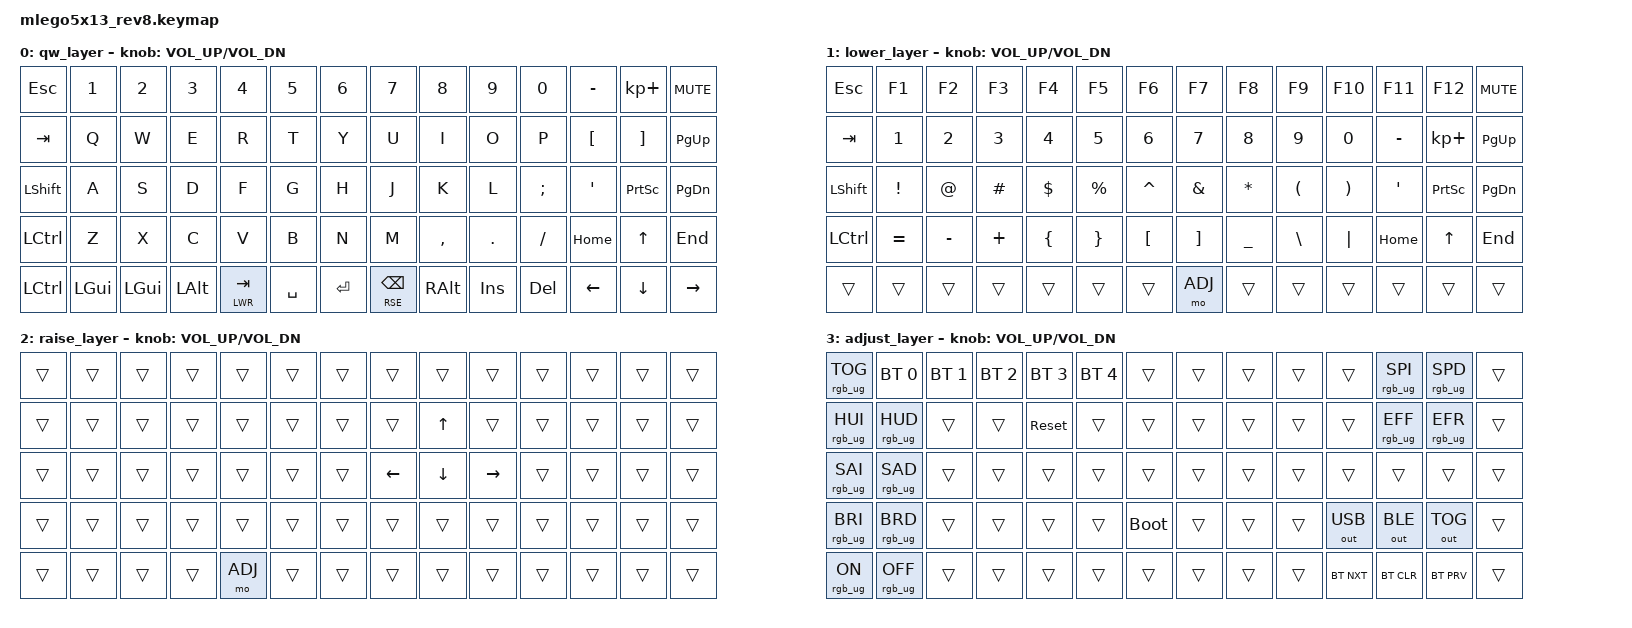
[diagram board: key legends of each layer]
/*
 * Copyright (c) 2022 The ZMK Contributors
 *
 * SPDX-License-Identifier: MIT
 */
 
#include <behaviors.dtsi>
#include <dt-bindings/zmk/keys.h>
#include <dt-bindings/zmk/outputs.h>
#include <dt-bindings/zmk/rgb.h>
#include <dt-bindings/zmk/bt.h>

#define  QW 0
#define LWR 1
#define RSE 2
#define ADJ 3

 &lt {
        quick_tap_ms = <150>;
    };
/ {
   
    conditional_layers {
        compatible = "zmk,conditional-layers";
        tri_layer {
            if-layers = <LWR RSE>;
            then-layer = <ADJ>;
        };
    };

   

    keymap {
        compatible = "zmk,keymap";

/*
 * ┌───┬───┬───┬───┬───┬───┬───┬───┬───┬───┬───┬───┬───┐
 * │ ⎋ │ 1 │ 2 │ 3 │ 4 │ 5 │ 6 │ 7 │ 8 │ 9 │ 0 │ - │ ⌫ │
 * ├───┼───┼───┼───┼───┼───┼───┼───┼───┼───┼───┼───┼───┤
 * │ ↹ │ q │ w │ e │ r │ t │ y │ u │ i │ o │ p │ [ │ ] │
 * ├───┼───┼───┼───┼───┼───┼───┼───┼───┼───┼───┼───┼───┤
 * │ # │ a │ s │ d │ f │ g │ h │ j │ k │ l │ ; │ ' │ ⏎ │
 * ├───┼───┼───┼───┼───┼───┼───┼───┼───┼───┼───┼───┼───┤
 * │ ⇧(│ \ │ z │ x │ c │ v │ b │ n │ m │ , │ , │ ↑ │ / │
 * ├───┼───┼───┼───┼───┼───┼───┼───┼───┼───┼───┼───┼───┤
 * │ ⎈ │mnu│lwr│⎇  │rse│   │   │   │⎇  │ ⇧)│ ← │ ↓ │ → │
 * └───┴───┴───┴───┴───┴───┴───┴───┴───┴───┴───┴───┴───┘
 */
        qw_layer {
            bindings = <
                &kp ESC          &kp N1          &kp N2    &kp N3   &kp N4         &kp N5    &kp N6    &kp N7    &kp N8     &kp N9    &kp N0   &kp MINUS &kp KP_PLUS &kp C_MUTE
                &kp TAB          &kp Q           &kp W     &kp E    &kp R          &kp T     &kp Y     &kp U     &kp I      &kp O     &kp P    &kp LBKT  &kp RBKT    &kp PG_UP
                &kp LSHIFT       &kp A           &kp S     &kp D    &kp F          &kp G     &kp H     &kp J     &kp K      &kp L     &kp SEMI &kp APOS  &kp PSCRN   &kp PG_DN
                &kp LCTRL        &kp Z           &kp X     &kp C    &kp V          &kp B     &kp N     &kp M     &kp COMMA  &kp DOT   &kp FSLH &kp HOME  &kp UP      &kp END 
                &kp LCTRL        &kp LGUI        &kp LGUI  &kp LALT &lt LWR TAB    &kp SPACE &kp RET   &lt RSE BSPC  &kp RALT   &kp INS   &kp DEL  &kp LEFT  &kp DOWN    &kp RIGHT 
            >;
      sensor-bindings = <&inc_dec_kp C_VOL_UP C_VOL_DN>;
        };
/*
lower layer
 * ┌───┬───┬───┬───┬───┬───┬───┬───┬───┬───┬───┬───┬───┐
 * │ ` │MUT│Vup│Vdn│prv│ply│nxt│EXT│SLP│WAK│PSC│ ⌫ │ = │
 * ├───┼───┼───┼───┼───┼───┼───┼───┼───┼───┼───┼───┼───┤
 * │   │ σ │ ω │ ε │ ρ │ ϑ │ ℝ │ τ │ ∫ │ ∞ │ π │ [ │ ] │
 * ├───┼───┼───┼───┼───┼───┼───┼───┼───┼───┼───┼───┼───┤
 * │   │ α │ ∑ │ δ │ φ │ γ │ ℏ │ ∈ │ ϰ │ λ │ 𝔼 │ ∝ │ ⏎ │
 * ├───┼───┼───┼───┼───┼───┼───┼───┼───┼───┼───┼───┼───┤
 * │ ⇧(│   │ ζ │ ξ │ χ │ ν │ β │ η │ μ │ ≊ │ ± │   │ × │
 * ├───┼───┼───┼───┼───┼───┼───┼───┼───┼───┼───┼───┼───┤
 * │ ⎈ │   │lwr│⎇  │rse│   │   │   │⎇  │ ⇧)│   │   │   │
 * └───┴───┴───┴───┴───┴───┴───┴───┴───┴───┴───┴───┴───┘
lower layer shifted
 * ┌───┬───┬───┬───┬───┬───┬───┬───┬───┬───┬───┬───┬───┐
 * │ ¬ │   │   │   │   │   │   │   │   │   │   │ ⌫ │ = │
 * ├───┼───┼───┼───┼───┼───┼───┼───┼───┼───┼───┼───┼───┤
 * │MB3│ ϕ │ Ω │ ℇ │ ∇ │ θ │ ℤ │ ℂ │ ∮ │ ⊗ │ ∏ │ { │ } │
 * ├───┼───┼───┼───┼───┼───┼───┼───┼───┼───┼───┼───┼───┤
 * │MB2│ Α │ ⨋ │ ∂ │ ψ │ Γ │ 𝓗 │ ∉ │ ∆ │ Λ │ Å │ ℒ │ ⏎ │
 * ├───┼───┼───┼───┼───┼───┼───┼───┼───┼───┼───┼───┼───┤
 * │ ⇧(│MB1│ ∡ │ Ξ │ ̇  │ Ν │ Β │ ∪ │ ∘ │ ≈ │ ∓ │MSU│ ⋅ │
 * ├───┼───┼───┼───┼───┼───┼───┼───┼───┼───┼───┼───┼───┤
 * │ ⎈ │MB4│lwr│⎇  │rse│   │   │   │⎇  │ ⇧)│MSL│MSD│MSR│
 * └───┴───┴───┴───┴───┴───┴───┴───┴───┴───┴───┴───┴───┘
MB - mouse buttons
MS - mouse directions
*/
        lower_layer {
            bindings = <
                &kp ESC          &kp F1          &kp F2    &kp F3   &kp F4         &kp F5    &kp F6    &kp F7    &kp F8     &kp F9    &kp F10  &kp F11   &kp F12     &kp C_MUTE
                &kp TAB          &kp N1          &kp N2    &kp N3   &kp N4         &kp N5    &kp N6    &kp N7    &kp N8     &kp N9    &kp N0   &kp MINUS &kp KP_PLUS    &kp PG_UP
                &kp LSHIFT       &kp EXCL        &kp AT    &kp HASH &kp DLLR       &kp PRCNT &kp CARET &kp AMPS  &kp STAR   &kp LPAR  &kp RPAR &kp APOS  &kp PSCRN   &kp PG_DN
                &kp LCTRL        &kp EQUAL       &kp MINUS &kp PLUS &kp LBRC       &kp RBRC  &kp LBKT  &kp RBKT  &kp UNDER  &kp BSLH  &kp PIPE &kp HOME  &kp UP      &kp END 
                &trans           &trans          &trans    &trans   &trans         &trans    &trans    &mo ADJ    &trans     &trans    &trans   &trans    &trans      &trans
            >;
      sensor-bindings = <&inc_dec_kp C_VOL_UP C_VOL_DN>;
        };
/*
 * raise layer
 * ┌───┬───┬───┬───┬───┬───┬───┬───┬───┬───┬───┬───┬───┐
 * │ ⎋ │ F1│ F2│ F3│ F4│ F5│ F6│ F7│ F8│ F9│F10│F11│F12│
 * ├───┼───┼───┼───┼───┼───┼───┼───┼───┼───┼───┼───┼───┤
 * │   │ â │   │   │   │ ț │   │   │ î │   │   │   │   │
 * ├───┼───┼───┼───┼───┼───┼───┼───┼───┼───┼───┼───┼───┤
 * │ ⇪ │ ă │ ș │   │   │   │   │   │   │   │   │   │   │
 * ├───┼───┼───┼───┼───┼───┼───┼───┼───┼───┼───┼───┼───┤
 * │   │   │   │   │ ç │   │   │   │   │   │   │MWU│   │
 * ├───┼───┼───┼───┼───┼───┼───┼───┼───┼───┼───┼───┼───┤
 * │   │   │   │   │   │   │   │   │   │   │MWL│MWD│MWR│
 * └───┴───┴───┴───┴───┴───┴───┴───┴───┴───┴───┴───┴───┘
 * MW mouse keys
*/
        raise_layer {
            bindings = <
                &trans   &trans  &trans  &trans  &trans  &trans  &trans  &trans    &trans      &trans  &trans  &trans  &trans &trans
                &trans   &trans  &trans  &trans  &trans  &trans  &trans  &trans    &kp UP      &trans  &trans  &trans  &trans &trans
                &trans   &trans  &trans  &trans  &trans  &trans  &trans  &kp LEFT  &kp DOWN    &kp RIGHT  &trans  &trans  &trans &trans
                &trans   &trans  &trans  &trans  &trans  &trans  &trans  &trans    &trans      &trans  &trans  &trans  &trans &trans
                &trans   &trans  &trans  &trans  &mo ADJ  &trans  &trans  &trans    &trans      &trans  &trans  &trans  &trans &trans
            >; 
      sensor-bindings = <&inc_dec_kp C_VOL_UP C_VOL_DN>;
        };

/*
adj layer
 * ┌───┬────┬───┬───┬───┬───┬────┬───┬───┬───┬───┬────┬────┐
 * │TOG│bt0 │bt1│bt2│bt3│bt4│    │   │   │   │   │ SPI│ SPD│
 * ├───┼────┼───┼───┼───┼───┼────┼───┼───┼───┼───┼────┼────┤
 * │HUI│HUD │   │   │rst│   │    │   │   │   │   │ EFF│ EFR│
 * ├───┼────┼───┼───┼───┼───┼────┼───┼───┼───┼───┼────┼────┤
 * │SAI│SAD │   │   │   │   │    │   │   │   │   │    │    │
 * ├───┼────┼───┼───┼───┼───┼────┼───┼───┼───┼───┼────┼────┤
 * │BRI│BRD │   │   │   │   │boot│   │   │   │   │bt  │    │
 * ├───┼────┼───┼───┼───┼───┼────┼───┼───┼───┼───┼────┼────┤
 * │ ON│OFF │   │   │   │   │    │   │   │USB│btN│btC │ btP│
 * └───┴────┴───┴───┴───┴───┴────┴───┴───┴───┴───┴────┴────┘
*/

        adjust_layer {
            bindings = <
                &rgb_ug RGB_TOG &bt BT_SEL 0    &bt BT_SEL 1 &bt BT_SEL 2 &bt BT_SEL 3 &bt BT_SEL 4 &trans      &trans &trans &trans       &trans     &rgb_ug RGB_SPI &rgb_ug RGB_SPD &trans
                &rgb_ug RGB_HUI &rgb_ug RGB_HUD &trans       &trans       &sys_reset       &trans       &trans      &trans &trans &trans       &trans     &rgb_ug RGB_EFF &rgb_ug RGB_EFR &trans
                &rgb_ug RGB_SAI &rgb_ug RGB_SAD &trans       &trans       &trans       &trans       &trans      &trans &trans &trans       &trans     &trans          &trans &trans
                &rgb_ug RGB_BRI &rgb_ug RGB_BRD &trans       &trans       &trans       &trans       &bootloader &trans &trans &trans &out OUT_USB     &out OUT_BLE    &out OUT_TOG &trans
                &rgb_ug RGB_ON  &rgb_ug RGB_OFF &trans       &trans       &trans       &trans       &trans      &trans &trans &trans &bt BT_NXT &bt BT_CLR      &bt BT_PRV   &trans
            >;
      sensor-bindings = <&inc_dec_kp C_VOL_UP C_VOL_DN>;
        };

    };
};
